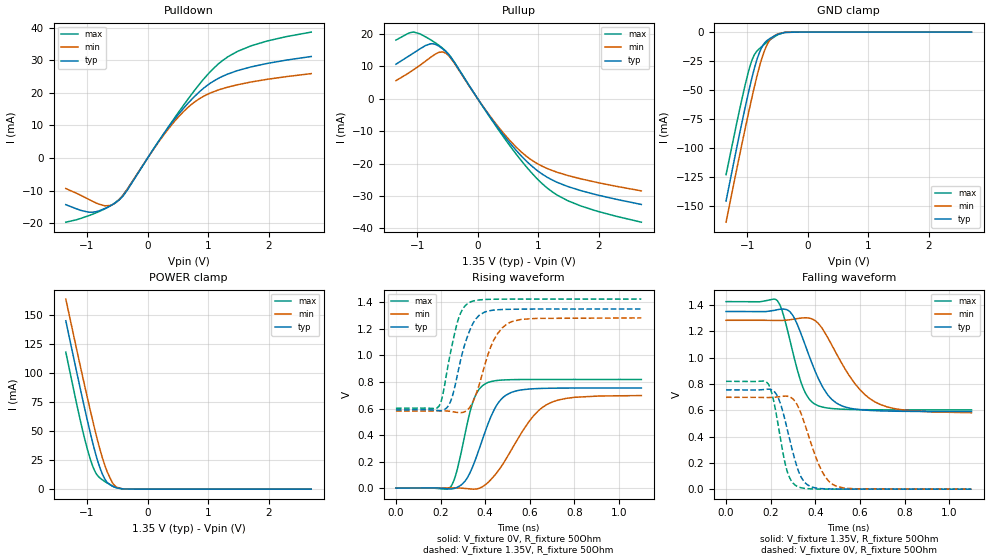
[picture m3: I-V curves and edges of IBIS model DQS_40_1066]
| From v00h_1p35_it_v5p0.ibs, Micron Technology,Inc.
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| MODEL DQS_40_1066 (40 Ohm Data Strobe I/O with no ODT, 800/1066Mbps)
[Model]   DQS_40_1066
Model_type   I/O
Vinl = 515.000mV
Vinh = 835.000mV
Vmeas = 675.000mV
Vref = 675.000mV
Cref = 0.0pF
Rref = 25.000Ohm
|   typ   min   max
|C_comp   1.100pF   1.025pF   1.175pF
C_comp_pullup   0.5500pF   0.5125pF   0.5875pF
C_comp_pulldown   0.5500pF   0.5125pF   0.5875pF
[Model Spec]
| Input threshold voltage corners
Vinl   0.5150V   0.4815V   0.5525V
Vinh   0.8350V   0.8015V   0.8725V
| Measurement voltage corners
Vmeas   0.6750V   0.6415V   0.7125V
| Timing spec test load voltage corners
Vref   0.6750V   0.6415V   0.7125V
| Dynamic Overshoot Parameters from DDR3L Specification
D_overshoot_ampl_h   0.40   NA   NA
D_overshoot_ampl_l   0.40   NA   NA
D_overshoot_area_h   0.19n   NA   NA
D_overshoot_area_l   0.19n   NA   NA
[Receiver Thresholds]
|Vth   =  0.675V
|Vth_min  =  0.6615V
|Vth_max  =  0.6885V
|Vinh_ac  =  0.160V
|Vinh_dc  =  0.090V
|Vinl_ac  = -0.160V
|Vinl_dc  = -0.090V
|Tslew_ac =  5.000ns |Not specified, so set to high value
|Threshold_sensitivity = 0.50
|Reference_supply Pullup_ref
Vcross_low   = 0.515V
Vcross_high  = 0.835V
Vdiff_ac   = 320mV
Vdiff_dc   = 180mV
Tdiffslew_ac = 10.000ns |Not specified, so set to high value
[Voltage Range]   1.3500V   1.2830V   1.4250V
[Pullup Reference]   1.3500V   1.2830V   1.4250V
| Junction Temperature (Ambient temp is 35C typ, 95C min, -40C max)
[Temperature Range]   50.0   110.0   -40.0
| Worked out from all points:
|   slope of the pulldown table from 0 to 0.203 V, typ, clamps not added: 35.4 ohm
|   slope of the pullup table from 0 to 0.203 V, typ, clamps not added: 36.6 ohm
|   GND clamp passes 1 mA (typ) near -0.43 V on its own axis
|   POWER clamp passes 1 mA (typ) near -0.50 V on its own axis
|   falling waveform, V_fixture 1.35V, R_fixture 50Ohm: 20-80 % time 114ps typ, 162ps min, 78.8ps max; typ from 1.35 V to 0.59 V
|   rising waveform, V_fixture 0V, R_fixture 50Ohm: 20-80 % time 103ps typ, 162ps min, 68.1ps max; typ from 0 V to 0.754 V
|   rising waveform, V_fixture 1.35V, R_fixture 50Ohm: 20-80 % time 72.5ps typ, 86.2ps min, 60.2ps max; typ from 0.589 V to 1.35 V
|   falling waveform, V_fixture 0V, R_fixture 50Ohm: 20-80 % time 69.7ps typ, 89.1ps min, 54.1ps max; typ from 0.754 V to 0 V
[Pulldown]
|   Voltage   I(typ)   I(min)   I(max)
-1.35V    -14.3mA    -9.348mA   -19.69mA
-912.5mV  -16.63mA   -13.24mA   -17.27mA
-704.5mV  -15.47mA   -14.65mA   -15.58mA
-550.8mV  -13.95mA   -14mA      -13.91mA
-426.2mV  -12.08mA   -11.92mA   -11.82mA
-335.1mV  -9.869mA   -9.618mA   -9.527mA
189.6mV   5.376mA    5.146mA    5.346mA
513.9mV   13.54mA    12.73mA    14.15mA
841.4mV   20.11mA    18.06mA    22.35mA
1.222V    24.98mA    21.23mA    29.74mA
1.713V    28.01mA    23.37mA    34.48mA
2.7V      31.17mA    25.92mA    38.67mA
[GND Clamp]
|   Voltage   I(typ)   I(min)   I(max)
-1.35V    -145.9mA   -164.2mA   -123.2mA
-1.104V   -82.04mA   -100.6mA   -61.54mA
-981.5mV  -52.51mA   -70.4mA    -34.36mA
-926.6mV  -40.32mA   -57.39mA   -24.87mA
-871.4mV  -29.24mA   -44.86mA   -18.6mA
-784.3mV  -15.83mA   -27.11mA   -13.59mA
-739.8mV  -11.33mA   -19.6mA    -11.58mA
-693.9mV  -8.28mA    -13.28mA   -9.581mA
-607.6mV  -4.933mA   -5.526mA   -6.066mA
-530.2mV  -2.777mA   -2.429mA   -3.326mA
-372.5mV  -285.2uA   -239.4uA   -213.4uA
2.7V      0A         0A         0A
[Pullup]
|   Voltage   I(typ)   I(min)   I(max)
-1.35V    10.67mA    5.582mA    18.11mA
-1.055V   14.18mA    9.01mA     20.58mA
-754.3mV  17mA       13.1mA     17.94mA
-640.5mV  16.24mA    14.32mA    16.51mA
-529.2mV  14.57mA    14.09mA    14.76mA
-446.6mV  12.81mA    12.56mA    12.98mA
432.1mV   -11.35mA   -10.77mA   -11.96mA
795.2mV   -19.08mA   -17.61mA   -20.83mA
1.077V    -23.41mA   -20.93mA   -26.42mA
1.322V    -25.88mA   -22.74mA   -29.84mA
1.698V    -28.33mA   -24.69mA   -33.05mA
2.7V      -32.61mA   -28.42mA   -38.08mA
[POWER Clamp]
|   Voltage   I(typ)   I(min)   I(max)
-1.35V    145mA      163.7mA    118mA
-1.082V   79.61mA    99.21mA    52.68mA
-990.9mV  58.49mA    78.06mA    33.81mA
-901.1mV  38.92mA    57.91mA    19.14mA
-835.6mV  26.31mA    43.98mA    12.36mA
-718.8mV  9.969mA    22.56mA    7.057mA
-662.9mV  5.548mA    14.41mA    5.166mA
-584mV    2.599mA    5.794mA    2.822mA
-524.9mV  1.395mA    2.272mA    1.436mA
-413.1mV  241.3uA    288.1uA    151.4uA
-133.7mV  139.4nA    524.3nA    0A
2.7V      0A         0A         0A
[Ramp]
R_load = 50
|   typ   min   max
dV/dt_r 4.5267E-01/1.0287E-10   4.1853E-01/1.6123E-10   4.9142E-01/6.7916E-11
dV/dt_f 4.5626E-01/1.1328E-10   4.2131E-01/1.6177E-10   4.9364E-01/7.8630E-11
[Falling Waveform]
V_fixture = 1.35V
V_fixture_min = 1.283V
V_fixture_max = 1.425V
R_fixture = 50Ohm
C_fixture = 0F
|   Time   V(typ)   V(min)   V(max)
0s        1.35V      1.283V     1.425V
230ps     1.363V     1.282V     1.432V
256ps     1.368V     1.282V     1.33V
300ps     1.318V     1.291V     1.035V
354ps     1.098V     1.302V     736.4mV
410ps     854.5mV    1.265V     636mV
494ps     655.1mV    1.031V     610mV
580ps     608mV      796.7mV    604.7mV
664ps     596.6mV    666.2mV    603.1mV
1.1ns     589.6mV    580.8mV    602.3mV
[Rising Waveform]
V_fixture = 0V
V_fixture_min = 0V
V_fixture_max = 0V
R_fixture = 50Ohm
C_fixture = 0F
|   Time   V(typ)   V(min)   V(max)
0s        0V         795.4nV    0V
244ps     -6.928mV   1.483mV    7.132mV
274ps     4.942mV    1.224mV    135.2mV
346ps     169.9mV    -7.927mV   654.1mV
408ps     462.8mV    34.89mV    792.9mV
450ps     620.4mV    111.5mV    810.6mV
494ps     701.3mV    221.2mV    816.1mV
598ps     746.9mV    505.3mV    818.7mV
676ps     752.3mV    629.3mV    819mV
1.1ns     754.5mV    697.6mV    819mV
[Rising Waveform]
V_fixture = 1.35V
V_fixture_min = 1.283V
V_fixture_max = 1.425V
R_fixture = 50Ohm
C_fixture = 0F
|   Time   V(typ)   V(min)   V(max)
0s        589.4mV    580.8mV    602.3mV
192ps     583.8mV    582.5mV    615.3mV
210ps     586.2mV    582.6mV    703.6mV
242ps     642.5mV    578.9mV    999.4mV
278ps     873.1mV    569.7mV    1.264V
334ps     1.201V     617.1mV    1.403V
374ps     1.303V     783.2mV    1.419V
438ps     1.342V     1.114V     1.424V
510ps     1.348V     1.248V     1.425V
1.1ns     1.35V      1.283V     1.425V
[Falling Waveform]
|Gnd
V_fixture = 0V
V_fixture_min = 0V
V_fixture_max = 0V
R_fixture = 50Ohm
C_fixture = 0F
|   Time   V(typ)   V(min)   V(max)
0s        754.5mV    698.1mV    819mV
188ps     759.6mV    696.2mV    802mV
208ps     752mV      697.3mV    709.9mV
230ps     707.2mV    700.6mV    523mV
272ps     471.3mV    706.4mV    147.4mV
322ps     149.7mV    629.7mV    18.83mV
364ps     34.13mV    436.5mV    3.969mV
428ps     4.038mV    141.9mV    753uV
496ps     936.1uV    21.08mV    237.5uV
1.1ns     1.646uV    19.66uV    0V
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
